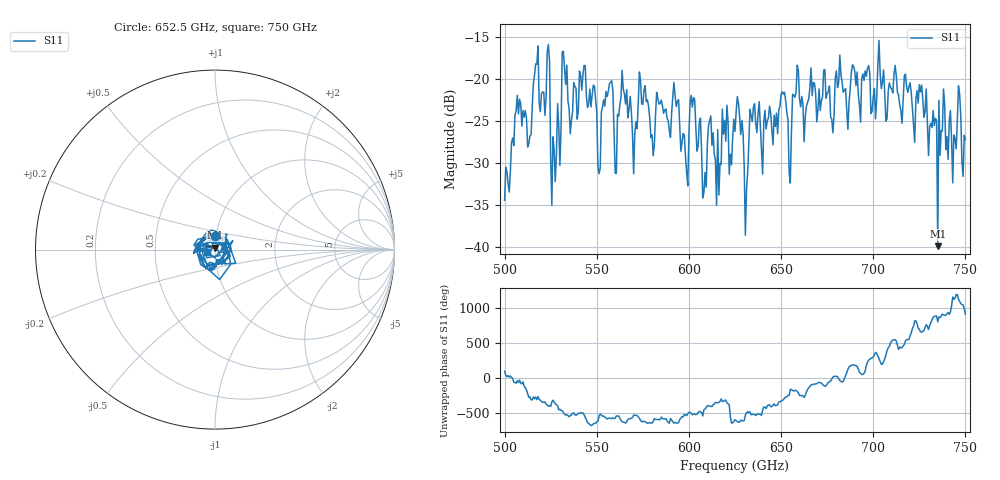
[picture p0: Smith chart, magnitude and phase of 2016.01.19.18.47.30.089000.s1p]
!Created with skrf (http://scikit-rf.org).
# GHz S RI R 50.0
!freq ReS11 ImS11
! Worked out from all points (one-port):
!   401 points, 500 GHz to 750 GHz, reference 50 ohm
!   lowest |S11| = -39.9 dB at 735 GHz (marker M1), VSWR 1.02, Z = 50.1 + j1.01 ohm
!   |S11| at or under -10 dB: start of sweep to end of sweep
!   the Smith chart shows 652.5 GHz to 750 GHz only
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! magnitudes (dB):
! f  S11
! 500 GHz  -34.4
! 506.9 GHz  -22.0
! 513.8 GHz  -26.8
! 516.9 GHz  -18.2
! 523.1 GHz  -16.8
! 526.2 GHz  -26.9
! 531.2 GHz  -16.8
! 542.5 GHz  -19.5
! 551.2 GHz  -31.3
! 556.2 GHz  -21.5
! 560.6 GHz  -31.2
! 562.5 GHz  -23.1
! 570.6 GHz  -26.5
! 574.4 GHz  -23.0
! 593.8 GHz  -22.7
! 598.8 GHz  -31.1
! 601.9 GHz  -23.4
! 608.1 GHz  -33.5
! 611.2 GHz  -25.0
! 616.2 GHz  -33.8
! 625 GHz  -26.3
! 631.2 GHz  -33.1
! 634.4 GHz  -25.1
! 656.2 GHz  -21.8
! 687.5 GHz  -21.2
! 718.8 GHz  -21.6
! 735 GHz  -39.9
! 750 GHz  -27.2
